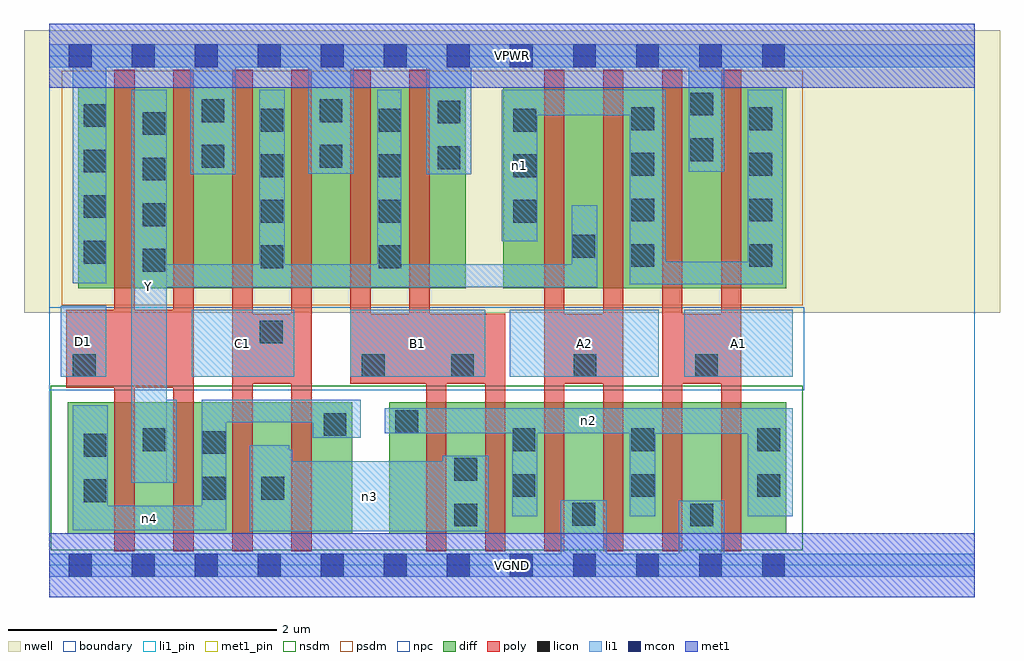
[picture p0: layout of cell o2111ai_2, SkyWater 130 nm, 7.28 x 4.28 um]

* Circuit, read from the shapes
.subckt o2111ai_2 A1 A2 B1 C1 D1 VGND VPWR Y n1 n2 n3 n4
XM1 Y D1 n4 VSUBS sky130_fd_pr__nfet_01v8 w=0.98 l=0.15 m=2
XM2 n3 C1 n4 VSUBS sky130_fd_pr__nfet_01v8 w=0.98 l=0.15 m=2
XM3 n3 B1 n2 VSUBS sky130_fd_pr__nfet_01v8 w=0.98 l=0.15 m=2
XM4 VGND A2 n2 VSUBS sky130_fd_pr__nfet_01v8 w=0.98 l=0.15 m=2
XM5 VGND A1 n2 VSUBS sky130_fd_pr__nfet_01v8 w=0.98 l=0.15 m=2
XM6 Y D1 VPWR n5 sky130_fd_pr__pfet_01v8 w=1.5 l=0.15 m=2
XM7 Y C1 VPWR n5 sky130_fd_pr__pfet_01v8 w=1.5 l=0.15 m=2
XM8 Y B1 VPWR n5 sky130_fd_pr__pfet_01v8 w=1.5 l=0.15 m=2
XM9 Y A2 n1 n5 sky130_fd_pr__pfet_01v8 w=1.5 l=0.15 m=2
XM10 VPWR A1 n1 n5 sky130_fd_pr__pfet_01v8 w=1.5 l=0.15 m=2
.ends

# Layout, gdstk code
import gdstk
lib = gdstk.Library(unit=1e-6, precision=1e-09)
def R(c, l, rs):  # rectangles x0, y0, x1, y1
    for r in rs: c.add(gdstk.rectangle(r[:2], r[2:], *l))
def A(c, l, x, y, w, h, nx, ny, dx, dy):  # array of equal rectangles
    R(c, l, [(x+i*dx, y+j*dy, x+i*dx+w, y+j*dy+h) for i in range(nx) for j in range(ny)])
nwell = (64, 20)
diff = (65, 20)
poly = (66, 20)
licon = (66, 44)
li1_pin = (67, 16)
li1 = (67, 20)
mcon = (67, 44)
met1_pin = (68, 16)
met1 = (68, 20)
nsdm = (93, 44)
psdm = (94, 20)
npc = (95, 20)
boundary = (235, 4)

o2111ai_2 = lib.new_cell('o2111ai_2')
R(o2111ai_2, nwell, [(-0.19,1.885,7.09,3.99), (0,1.885,6.9,3.99)])
R(o2111ai_2, diff, [(0.135,0.235,2.26,1.215), (2.535,0.235,5.495,1.215), (0.215,2.065,3.105,3.565), (3.385,2.065,5.495,3.565)])
A(o2111ai_2, poly, 0.485, 0.105, 0.15, 3.59, 4, 1, 0.44, 0)
A(o2111ai_2, poly, 3.69, 0.105, 0.15, 3.59, 4, 1, 0.44, 0)
R(o2111ai_2, poly, [(2.81,0.105,2.96,1.875), (3.25,0.105,3.4,1.875), (0.125,1.325,1.075,1.905), (1.365,1.355,1.955,1.875), (2.245,1.355,3.4,1.875), (2.245,1.355,2.395,3.695), (2.685,1.355,2.835,3.695), (3.69,1.355,4.28,1.875), (4.57,1.355,5.16,1.875)])
A(o2111ai_2, licon, 0.695, 2.19, 0.17, 0.17, 1, 4, 0, 0.34)
A(o2111ai_2, licon, 1.575, 2.215, 0.17, 0.17, 1, 4, 0, 0.34)
A(o2111ai_2, licon, 2.455, 2.215, 0.17, 0.17, 1, 4, 0, 0.34)
A(o2111ai_2, licon, 4.34, 2.225, 0.17, 0.17, 1, 4, 0, 0.34)
A(o2111ai_2, licon, 5.22, 2.225, 0.17, 0.17, 1, 4, 0, 0.34)
A(o2111ai_2, licon, 0.255, 2.25, 0.17, 0.17, 1, 4, 0, 0.34)
A(o2111ai_2, licon, 3.46, 2.555, 0.17, 0.17, 1, 3, 0, 0.34)
R(o2111ai_2, licon, [(3.02,0.29,3.19,0.46), (4.78,0.29,4.95,0.46), (3.9,0.295,4.07,0.465), (0.255,0.47,0.425,0.64), (1.14,0.49,1.31,0.66), (1.58,0.49,1.75,0.66), (3.455,0.51,3.625,0.68), (4.34,0.51,4.51,0.68), (5.28,0.51,5.45,0.68), (3.02,0.63,3.19,0.8), (0.255,0.81,0.425,0.98), (1.14,0.83,1.31,1), (0.695,0.85,0.865,1.02), (3.455,0.85,3.625,1.02), (4.34,0.85,4.51,1.02), (5.28,0.85,5.45,1.02), (2.045,0.965,2.215,1.135), (2.58,0.985,2.75,1.155), (0.175,1.405,0.345,1.575), (2.33,1.405,2.5,1.575), (2.995,1.405,3.165,1.575), (3.91,1.405,4.08,1.575), (4.815,1.405,4.985,1.575), (1.57,1.655,1.74,1.825), (3.9,2.295,4.07,2.465), (2.895,2.955,3.065,3.125), (1.135,2.965,1.305,3.135), (2.015,2.965,2.185,3.135), (4.78,3.015,4.95,3.185), (2.895,3.295,3.065,3.465), (1.135,3.305,1.305,3.475), (2.015,3.305,2.185,3.475), (4.78,3.355,4.95,3.525)])
R(o2111ai_2, li1_pin, [(0.61,0.615,0.875,3.545), (0.085,1.405,0.425,1.935), (1.06,1.405,1.825,1.905), (2.245,1.405,3.25,1.905), (3.435,1.405,4.545,1.905), (4.735,1.405,5.545,1.905)])
R(o2111ai_2, li1, [(0,-0.085,6.9,0.085), (3.815,-0.085,4.155,0.485), (4.695,-0.085,5.035,0.48), (1.495,0.255,3.275,0.775), (1.495,0.255,1.79,0.895), (1.495,0.255,1.81,0.86), (2.935,0.255,3.275,0.815), (0.175,0.26,1.32,0.445), (0.175,0.26,0.435,1.195), (1.135,0.26,1.32,1.235), (3.45,0.365,3.64,1.17), (4.33,0.365,4.52,1.17), (5.21,0.365,5.545,1.17), (0.61,0.615,0.875,3.545), (0.61,0.615,0.95,1.235), (1.965,0.95,2.32,1.235), (4.33,0.98,5.545,1.17), (2.5,0.985,5.545,1.17), (1.135,1.065,2.32,1.235), (0.085,1.405,0.425,1.935), (1.06,1.405,1.825,1.905), (2.245,1.405,3.25,1.905), (3.435,1.405,4.545,1.905), (4.735,1.405,5.545,1.905), (0.61,2.075,4.085,2.245), (1.565,2.075,1.755,3.545), (2.445,2.075,2.625,3.545), (3.895,2.075,4.085,2.685), (4.33,2.095,4.595,3.545), (4.33,2.095,5.47,2.265), (5.21,2.095,5.47,3.545), (0.175,2.105,0.425,3.885), (3.375,2.415,3.64,3.545), (1.05,2.915,1.39,3.885), (2.81,2.915,3.145,3.885), (1.93,2.92,2.27,3.885), (4.77,2.935,5.035,3.885), (3.375,3.355,4.595,3.545), (0,3.715,6.9,3.885)])
A(o2111ai_2, mcon, 0.145, -0.085, 0.17, 0.17, 12, 2, 0.47, 3.8)
R(o2111ai_2, met1_pin, [(0,-0.24,6.9,0.24), (0,3.56,6.9,4.04)])
R(o2111ai_2, met1, [(0,-0.24,6.9,0.24), (0,3.56,6.9,4.04)])
R(o2111ai_2, nsdm, [(0.01,0.11,5.62,1.34)])
R(o2111ai_2, psdm, [(0.09,1.94,5.62,3.69)])
R(o2111ai_2, npc, [(0,1.305,5.63,1.925)])
R(o2111ai_2, boundary, [(0,0,6.9,3.8)])
o2111ai_2.add(gdstk.Label('A1', (5.14,1.655), layer=67, texttype=5))
o2111ai_2.add(gdstk.Label('A2', (3.99,1.655), layer=67, texttype=5))
o2111ai_2.add(gdstk.Label('B1', (2.747,1.655), layer=67, texttype=5))
o2111ai_2.add(gdstk.Label('C1', (1.442,1.655), layer=67, texttype=5))
o2111ai_2.add(gdstk.Label('D1', (0.255,1.67), layer=67, texttype=5))
o2111ai_2.add(gdstk.Label('Y', (0.742,2.08), layer=67, texttype=5))
o2111ai_2.add(gdstk.Label('n3', (2.385,0.515), layer=67, texttype=5))
o2111ai_2.add(gdstk.Label('n2', (4.022,1.077), layer=67, texttype=5))
o2111ai_2.add(gdstk.Label('n4', (0.747,0.352), layer=67, texttype=5))
o2111ai_2.add(gdstk.Label('n1', (3.507,2.98), layer=67, texttype=5))
o2111ai_2.add(gdstk.Label('VPWR', (3.45,3.8), layer=68, texttype=5))
o2111ai_2.add(gdstk.Label('VGND', (3.45,0), layer=68, texttype=5))
o2111ai_2.add(gdstk.Label('A1', (5.14,1.655), layer=67, texttype=16))
o2111ai_2.add(gdstk.Label('A2', (3.99,1.655), layer=67, texttype=16))
o2111ai_2.add(gdstk.Label('B1', (2.747,1.655), layer=67, texttype=16))
o2111ai_2.add(gdstk.Label('C1', (1.442,1.655), layer=67, texttype=16))
o2111ai_2.add(gdstk.Label('D1', (0.255,1.67), layer=67, texttype=16))
o2111ai_2.add(gdstk.Label('Y', (0.742,2.08), layer=67, texttype=16))
o2111ai_2.add(gdstk.Label('VPWR', (3.45,3.8), layer=68, texttype=16))
o2111ai_2.add(gdstk.Label('VGND', (3.45,0), layer=68, texttype=16))

lib.write_gds('o2111ai_2.gds')
